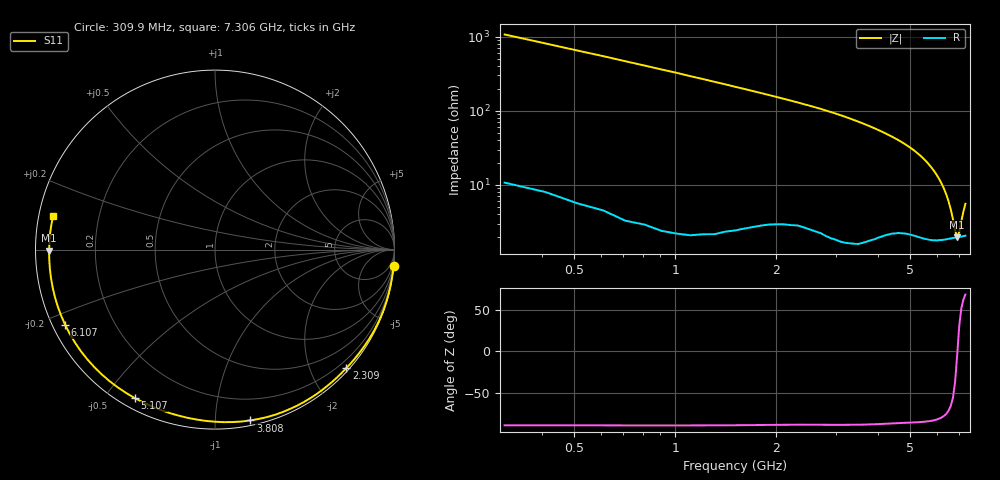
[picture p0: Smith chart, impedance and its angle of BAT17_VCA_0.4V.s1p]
! Infineon Technologies  Discrete & RF Semiconductors
! BAT17
! VCA = 0.4 V
! One-Port S-Parameters
# Hz  S  MA  R  50
!f  S11
!Hz  Mag  Ang
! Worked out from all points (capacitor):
!   71 points, 309.9 MHz to 7.306 GHz, reference 50 ohm
!   read as one part to ground: C = 476 fF near 309.9 MHz
!   lowest |Z| = 1.97 ohm at 6.907 GHz (marker M1)
!   series resonance near 6.919 GHz, so ESL is about 1.1 nH
!   S11 on the Smith chart (normalised r, x): 309.9 MHz: 0, -21; 2.309 GHz: 0.06, -2.60; 3.808 GHz: 0.04, -1.23; 5.107 GHz: 0.04, -0.60; 6.107 GHz: 0.04, -0.24; 7.306 GHz: 0.04, +0.10
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3.0985e8  0.9991 -5.3
8.096e8  0.9983 -14.0
1.2094e9  0.9971 -21.1
1.6092e9  0.9938 -28.5
2.10895e9  0.9876 -38.1
2.30885e9  0.9855 -42.0
2.70865e9  0.9839 -50.4
3.0085e9  0.9834 -57.3
3.2084e9  0.9825 -62.2
3.4083e9  0.9804 -67.3
3.6082e9  0.977 -72.7
3.8081e9  0.9719 -78.3
4.10795e9  0.9627 -87.0
4.30785e9  0.9559 -92.9
4.50775e9  0.9499 -99.1
4.70765e9  0.9451 -105.4
4.90755e9  0.9418 -111.8
5.10745e9  0.9403 -118.4
5.30735e9  0.9396 -125.2
5.6072e9  0.9384 -135.7
5.90705e9  0.9365 -146.3
6.10695e9  0.9341 -153.3
6.30685e9  0.9315 -160.2
6.50675e9  0.9287 -166.9
6.70665e9  0.9262 -173.4
6.90655e9  0.9245 -179.6
7.10645e9  0.9231 174.2
7.30635e9  0.9215 168.2
